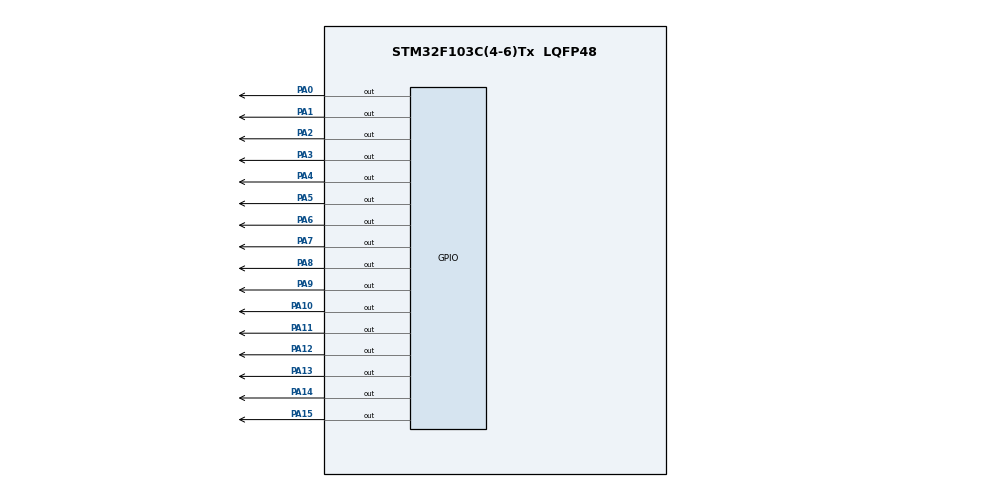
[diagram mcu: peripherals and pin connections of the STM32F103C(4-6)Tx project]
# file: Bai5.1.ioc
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Mcu.Family=STM32F1
Mcu.Name=STM32F103C(4-6)Tx
Mcu.Package=LQFP48
NVIC.PriorityGroup=NVIC_PRIORITYGROUP_4
PA0-WKUP.Signal=GPIO_Output
PA1.Signal=GPIO_Output
PA10.Signal=GPIO_Output
PA11.Signal=GPIO_Output
PA12.Signal=GPIO_Output
PA13.Signal=GPIO_Output
PA14.Signal=GPIO_Output
PA15.Signal=GPIO_Output
PA2.Signal=GPIO_Output
PA3.Signal=GPIO_Output
PA4.Signal=GPIO_Output
PA5.Signal=GPIO_Output
PA6.Signal=GPIO_Output
PA7.Signal=GPIO_Output
PA8.Signal=GPIO_Output
PA9.Signal=GPIO_Output
ProjectManager.HeapSize=0x200
ProjectManager.StackSize=0x400
ProjectManager.TargetToolchain=STM32CubeIDE
RCC.APB1Freq_Value=8000000
RCC.APB2Freq_Value=8000000
board=custom

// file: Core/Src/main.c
/* USER CODE BEGIN Header */
/**
  ******************************************************************************
  * @file           : main.c
  * @brief          : Main program body
  ******************************************************************************
  * @attention
  *
  * Copyright (c) 2024 STMicroelectronics.
  * All rights reserved.
  *
  * This software is licensed under terms that can be found in the LICENSE file
  * in the root directory of this software component.
  * If no LICENSE file comes with this software, it is provided AS-IS.
  *
  ******************************************************************************
  */
/* USER CODE END Header */
#include "main.h"

/* USER CODE BEGIN Includes */
#include "EOS.h"
#include "led7seg.h"
/* USER CODE END Includes */

/* USER CODE BEGIN PV */
volatile uint8_t hour = 0;
volatile uint8_t minute = 0;
volatile uint8_t second = 0;
volatile uint32_t count = 0;

/* USER CODE END PV */

void SystemClock_Config(void);
static void MX_GPIO_Init(void);

int main(void)
{

  /* MCU Configuration--------------------------------------------------------*/

  /* Reset of all peripherals, Initializes the Flash interface and the Systick. */
  //HAL_Init();

  /* Configure the system clock */
  //SystemClock_Config();

  /* Initialize all configured peripherals */
  MX_GPIO_Init();
  /* USER CODE BEGIN 2 */
  EOS_init(10);
  /* USER CODE END 2 */

  /* Infinite loop */
  /* USER CODE BEGIN WHILE */
  while (1)
  {
	  printLED(hour, minute, second);
    /* USER CODE END WHILE */

  }
}

void SystemClock_Config(void)
{
  RCC_OscInitTypeDef RCC_OscInitStruct = {0};
  RCC_ClkInitTypeDef RCC_ClkInitStruct = {0};

  /** Initializes the RCC Oscillators according to the specified parameters
  * in the RCC_OscInitTypeDef structure.
  */
  RCC_OscInitStruct.OscillatorType = RCC_OSCILLATORTYPE_HSI;
  RCC_OscInitStruct.HSIState = RCC_HSI_ON;
  RCC_OscInitStruct.HSICalibrationValue = RCC_HSICALIBRATION_DEFAULT;
  RCC_OscInitStruct.PLL.PLLState = RCC_PLL_NONE;
  if (HAL_RCC_OscConfig(&RCC_OscInitStruct) != HAL_OK)
  {
    Error_Handler();
  }

  /** Initializes the CPU, AHB and APB buses clocks
  */
  RCC_ClkInitStruct.ClockType = RCC_CLOCKTYPE_HCLK|RCC_CLOCKTYPE_SYSCLK
                              |RCC_CLOCKTYPE_PCLK1|RCC_CLOCKTYPE_PCLK2;
  RCC_ClkInitStruct.SYSCLKSource = RCC_SYSCLKSOURCE_HSI;
  RCC_ClkInitStruct.AHBCLKDivider = RCC_SYSCLK_DIV1;
  RCC_ClkInitStruct.APB1CLKDivider = RCC_HCLK_DIV1;
  RCC_ClkInitStruct.APB2CLKDivider = RCC_HCLK_DIV1;

  if (HAL_RCC_ClockConfig(&RCC_ClkInitStruct, FLASH_LATENCY_0) != HAL_OK)
  {
    Error_Handler();
  }
}

static void MX_GPIO_Init(void)
{
  GPIO_InitTypeDef GPIO_InitStruct = {0};

  /* GPIO Ports Clock Enable */
  __HAL_RCC_GPIOA_CLK_ENABLE();

  /*Configure GPIO pin Output Level */
  HAL_GPIO_WritePin(GPIOA, GPIO_PIN_0|GPIO_PIN_1|GPIO_PIN_2|GPIO_PIN_3
                          |GPIO_PIN_4|GPIO_PIN_5|GPIO_PIN_6|GPIO_PIN_7
                          |GPIO_PIN_8|GPIO_PIN_9|GPIO_PIN_10|GPIO_PIN_11
                          |GPIO_PIN_12|GPIO_PIN_13|GPIO_PIN_14|GPIO_PIN_15, GPIO_PIN_RESET);

  /*Configure GPIO pins : PA0 PA1 PA2 PA3
                           PA4 PA5 PA6 PA7
                           PA8 PA9 PA10 PA11
                           PA12 PA13 PA14 PA15 */
  GPIO_InitStruct.Pin = GPIO_PIN_0|GPIO_PIN_1|GPIO_PIN_2|GPIO_PIN_3
                          |GPIO_PIN_4|GPIO_PIN_5|GPIO_PIN_6|GPIO_PIN_7
                          |GPIO_PIN_8|GPIO_PIN_9|GPIO_PIN_10|GPIO_PIN_11
                          |GPIO_PIN_12|GPIO_PIN_13|GPIO_PIN_14|GPIO_PIN_15;
  GPIO_InitStruct.Mode = GPIO_MODE_OUTPUT_PP;
  GPIO_InitStruct.Pull = GPIO_NOPULL;
  GPIO_InitStruct.Speed = GPIO_SPEED_FREQ_LOW;
  HAL_GPIO_Init(GPIOA, &GPIO_InitStruct);

}

/* USER CODE BEGIN 4 */
void SysTick_Handler(void)
{
	if(++count >= 100){
		count = 0;
		second++;
		if(second == 60){
			second = 0;
			minute++;
			if(minute == 60){
				minute = 0;
				hour++;
				if(hour == 24){
					hour = 0;
				}
			}
		}
	}
  /* USER CODE BEGIN SysTick_IRQn 0 */

  /* USER CODE END SysTick_IRQn 0 */
  //HAL_IncTick();
  /* USER CODE BEGIN SysTick_IRQn 1 */

  /* USER CODE END SysTick_IRQn 1 */
}
/* USER CODE END 4 */

void Error_Handler(void)
{
  __disable_irq();
  while (1)
  {
  }
}
